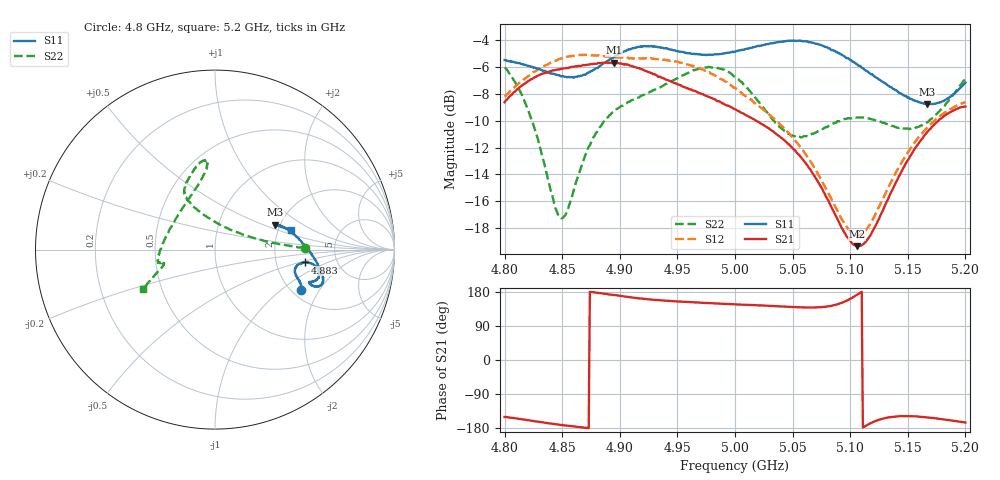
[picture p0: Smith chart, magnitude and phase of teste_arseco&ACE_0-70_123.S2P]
! Network Analyzer HP8722D
! Hewlett-Packard
! Data name: Linha & Wilkinson
! Saver's name: Rodrigo Anjos
! Comments: Teste da utilização de aquisição
! continua pelo VNA HP8722D
! Time and date: 8/5/2025 13:47
!  Frequency  S11  S21  S12  S22
# HZ  S  MA R 50
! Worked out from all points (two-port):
!   401 points, 4.8 GHz to 5.2 GHz, reference 50 ohm
!   highest |S21| = -5.67 dB at 4.895 GHz (marker M1); lowest = -19.3 dB at 5.106 GHz (marker M2)
!   |S21| within 3 dB of the highest: start of sweep to 4.988 GHz
!   lowest |S11| = -8.8 dB at 5.167 GHz (marker M3), VSWR 2.15, Z = 94.3 + j30.4 ohm
!   |S11| at or under -10 dB: nowhere
!   |S22| runs from -17.3 to -6.0 dB; largest |S21 - S12| = 1.1
!   S11 on the Smith chart (normalised r, x): 4.8 GHz: 2.23, -1.42; 4.883 GHz: 2.93, -0.57; 5.2 GHz: 2.35, +0.64
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4.8e9  0.5317 -25.4  0.3705 -150.3  0.3888 9.0  0.4992 1.0
4.821e9  0.5057 -20.7  0.4457 -159.3  0.464 6.1  0.3408 5.9
4.844e9  0.4707 -17.2  0.4883 -169.5  0.528 2.4  0.1499 42.1
4.848e9  0.4655 -16.2  0.4905 -171.1  0.5375 1.6  0.1384 58.0
4.854e9  0.4593 -14.7  0.4966 -173.2  0.5469 0.8  0.1454 82.1
4.867e9  0.465 -10.9  0.5064 -177.7  0.5549 -1.1  0.2165 110.2
4.883e9  0.5063 -8.2  0.518 176.3  0.5505 -2.2  0.3005 118.3
4.895e9  0.5462 -8.5  0.5203 171.6  0.5431 -2.3  0.3419 118.8
4.916e9  0.5952 -12.2  0.4966 162.7  0.5388 -1.7  0.3855 116.0
4.934e9  0.5929 -16.3  0.4599 157.8  0.5367 -2.7  0.4188 110.8
4.975e9  0.5545 -19.1  0.3907 150.5  0.485 -6.1  0.4991 97.8
5e9  0.5715 -20.0  0.3489 146.8  0.4195 -6.1  0.4599 96.0
5.02e9  0.6006 -20.1  0.3133 144.1  0.362 -3.2  0.374 104.3
5.045e9  0.6263 -18.0  0.2625 140.6  0.2889 2.3  0.2846 133.3
5.067e9  0.6173 -13.7  0.203 138.6  0.2183 9.0  0.2831 165.1
5.095e9  0.549 -4.2  0.1211 153.7  0.1313 33.9  0.3207 -172.2
5.106e9  0.5118 1.0  0.1079 172.3  0.1188 54.8  0.3253 -168.4
5.116e9  0.4787 6.0  0.1159 -169.7  0.1278 74.5  0.3225 -167.0
5.134e9  0.424 14.7  0.1658 -151.1  0.1815 94.4  0.3044 -166.0
5.167e9  0.3642 22.5  0.2869 -151.4  0.299 101.3  0.3123 -161.5
5.182e9  0.3768 20.5  0.3305 -157.1  0.3389 101.3  0.3598 -157.5
5.2e9  0.4378 14.6  0.3571 -165.1  0.3713 101.7  0.4552 -151.2
